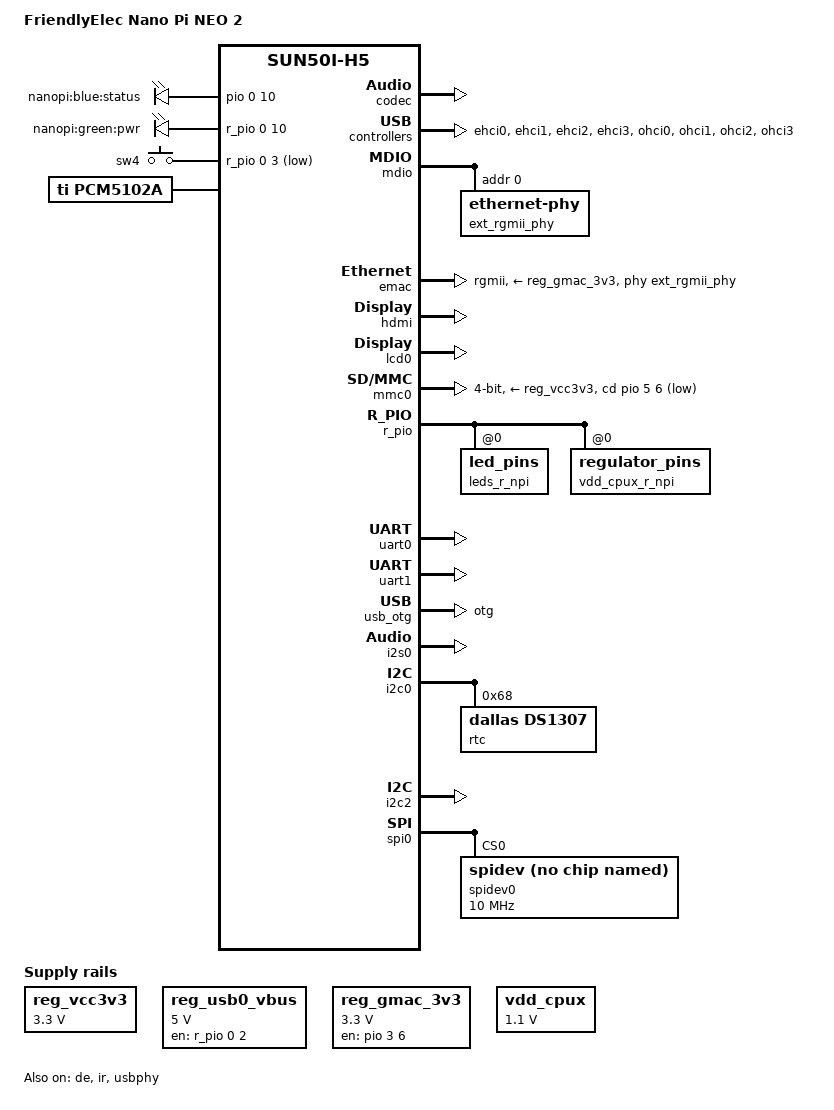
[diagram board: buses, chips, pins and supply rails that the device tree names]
/*
 * Copyright (C) 2016 ARM Ltd.
 *
 * This file is dual-licensed: you can use it either under the terms
 * of the GPL or the X11 license, at your option. Note that this dual
 * licensing only applies to this file, and not this project as a
 * whole.
 *
 *  a) This file is free software; you can redistribute it and/or
 *     modify it under the terms of the GNU General Public License as
 *     published by the Free Software Foundation; either version 2 of the
 *     License, or (at your option) any later version.
 *
 *     This file is distributed in the hope that it will be useful,
 *     but WITHOUT ANY WARRANTY; without even the implied warranty of
 *     MERCHANTABILITY or FITNESS FOR A PARTICULAR PURPOSE.  See the
 *     GNU General Public License for more details.
 *
 * Or, alternatively,
 *
 *  b) Permission is hereby granted, free of charge, to any person
 *     obtaining a copy of this software and associated documentation
 *     files (the "Software"), to deal in the Software without
 *     restriction, including without limitation the rights to use,
 *     copy, modify, merge, publish, distribute, sublicense, and/or
 *     sell copies of the Software, and to permit persons to whom the
 *     Software is furnished to do so, subject to the following
 *     conditions:
 *
 *     The above copyright notice and this permission notice shall be
 *     included in all copies or substantial portions of the Software.
 *
 *     THE SOFTWARE IS PROVIDED "AS IS", WITHOUT WARRANTY OF ANY KIND,
 *     EXPRESS OR IMPLIED, INCLUDING BUT NOT LIMITED TO THE WARRANTIES
 *     OF MERCHANTABILITY, FITNESS FOR A PARTICULAR PURPOSE AND
 *     NONINFRINGEMENT. IN NO EVENT SHALL THE AUTHORS OR COPYRIGHT
 *     HOLDERS BE LIABLE FOR ANY CLAIM, DAMAGES OR OTHER LIABILITY,
 *     WHETHER IN AN ACTION OF CONTRACT, TORT OR OTHERWISE, ARISING
 *     FROM, OUT OF OR IN CONNECTION WITH THE SOFTWARE OR THE USE OR
 *     OTHER DEALINGS IN THE SOFTWARE.
 */

/dts-v1/;
#include "sun50i-h5.dtsi"

#include <dt-bindings/gpio/gpio.h>
#include <dt-bindings/input/input.h>
#include <dt-bindings/pinctrl/sun4i-a10.h>
#include <dt-bindings/thermal/thermal.h>

/ {
	model = "FriendlyElec Nano Pi NEO 2";
	compatible = "friendlyelec,nanopi-neo2", "allwinner,sun50i-h5";

	reg_vcc3v3: vcc3v3 {
		compatible = "regulator-fixed";
		regulator-name = "vcc3v3";
		regulator-min-microvolt = <3300000>;
		regulator-max-microvolt = <3300000>;
	};

	aliases {
		serial0 = &uart0;
		serial1 = &uart1;
		serial2 = &uart2;
		serial3 = &uart3;
		i2c0 = &i2c0;
		i2c1 = &i2c1;
		i2c2 = &i2c2;
		spi0 = &spi0;
		spi1 = &spi1;
		pwm0 = &pwm;
		mmc0 = &mmc0;
		mmc2 = &mmc2;
		ethernet0 = &emac;
		lcd0 = &lcd0;
	};

	chosen {
		stdout-path = "serial0:115200n8";
	};

	leds {
		compatible = "gpio-leds";
		pinctrl-names = "default";
		pinctrl-0 = <&leds_npi>, <&leds_r_npi>;

		status {
			label = "nanopi:blue:status";
			gpios = <&pio 0 10 GPIO_ACTIVE_HIGH>;
			linux,default-trigger = "heartbeat";
		};

		pwr {
			label = "nanopi:green:pwr";
			gpios = <&r_pio 0 10 GPIO_ACTIVE_HIGH>;
			default-state = "on";
		};
	};

	r-gpio-keys {
		compatible = "gpio-keys";

		sw4 {
			label = "sw4";
			linux,code = <BTN_0>;
			gpios = <&r_pio 0 3 GPIO_ACTIVE_LOW>;
		};
	};

	pcm5102a: pcm5102a-codec {
		#sound-dai-cells = <0>;
		compatible = "ti,pcm5102a";
		status = "okay";
	};

	reg_usb0_vbus: usb0-vbus {
		compatible = "regulator-fixed";
		regulator-name = "usb0-vbus";
		regulator-min-microvolt = <5000000>;
		regulator-max-microvolt = <5000000>;
		enable-active-high;
		gpio = <&r_pio 0 2 GPIO_ACTIVE_HIGH>; /* PL2 */
		status = "okay";
	};

	reg_gmac_3v3: gmac-3v3 {
		compatible = "regulator-fixed";
		pinctrl-names = "default";
		pinctrl-0 = <&gmac_power_pin_nanopi>;
		regulator-name = "gmac-3v3";
		regulator-min-microvolt = <3300000>;
		regulator-max-microvolt = <3300000>;
		startup-delay-us = <100000>;
		enable-active-high;
		gpio = <&pio 3 6 GPIO_ACTIVE_HIGH>;
	};

	vdd_cpux: gpio-regulator {
		compatible = "regulator-gpio";

		pinctrl-names = "default";
		pinctrl-0 = <&vdd_cpux_r_npi>;

		regulator-name = "vdd-cpux";
		regulator-type = "voltage";
		regulator-boot-on;
		regulator-always-on;
		regulator-min-microvolt = <1100000>;
		regulator-max-microvolt = <1100000>;
		regulator-ramp-delay = <50>; /* 4ms */

		gpios = <&r_pio 0 6 GPIO_ACTIVE_HIGH>;
		gpios-states = <0x1>;
		states = <1100000 0x0
			  1100000 0x1>;
	};
};

&cpu0 {
	operating-points = <
		1008000	1100000
		816000	1100000
		624000	1100000
		480000	1100000
		312000	1100000
		240000	1100000
		120000	1100000
		>;
	#cooling-cells = <2>;
	cooling-min-level = <0>;
	cooling-max-level = <6>;
	cpu0-supply = <&vdd_cpux>;
};

&cpu_thermal {
	trips {
		cpu_warm: cpu_warm {
			temperature = <65000>;
			hysteresis = <2000>;
			type = "passive";
		};
		cpu_hot: cpu_hot {
			temperature = <75000>;
			hysteresis = <2000>;
			type = "passive";
		};
		cpu_very_hot: cpu_very_hot {
			temperature = <90000>;
			hysteresis = <2000>;
			type = "passive";
		};
		cpu_crit: cpu_crit {
			temperature = <105000>;
			hysteresis = <2000>;
			type = "critical";
		};
	};

	cooling-maps {
		cpu_warm_limit_cpu {
			trip = <&cpu_warm>;
			cooling-device = <&cpu0 THERMAL_NO_LIMIT 1>;
		};
		cpu_hot_limit_cpu {
			trip = <&cpu_hot>;
			cooling-device = <&cpu0 2 3>;
		};
		cpu_very_hot_limit_cpu {
			trip = <&cpu_very_hot>;
			cooling-device = <&cpu0 5 THERMAL_NO_LIMIT>;
		};
	};
};

&codec {
	allwinner,audio-routing =
		"Line Out", "LINEOUT",
		"MIC1", "Mic",
		"Mic",  "MBIAS";
	status = "okay";
};

&de {
	status = "okay";
};

&ehci0 {
	status = "okay";
};

&ehci1 {
	status = "okay";
};

&ehci2 {
	status = "okay";
};

&ehci3 {
	status = "okay";
};

&mdio {
	ext_rgmii_phy: ethernet-phy@1 {
		reg = <0>;
	};
};

&emac {
	pinctrl-names = "default";
	pinctrl-0 = <&emac_rgmii_pins>;
	phy-supply = <&reg_gmac_3v3>;
	phy-handle = <&ext_rgmii_phy>;
	phy-mode = "rgmii";
	local-mac-address = [ 00 00 00 00 00 00 ];

	allwinner,leds-active-low;
	status = "okay";
};

&hdmi {
	status = "okay";
};

&ir {
	pinctrl-names = "default";
	pinctrl-0 = <&ir_pins_a>;
	status = "okay";
};

&lcd0 {
	status = "okay";
};

&mmc0 {
	pinctrl-names = "default";
	pinctrl-0 = <&mmc0_pins_a>, <&mmc0_cd_pin>;
	vmmc-supply = <&reg_vcc3v3>;
	bus-width = <4>;
	cd-gpios = <&pio 5 6 GPIO_ACTIVE_LOW>; /* PF6 */
	boot_device = <1>;
	status = "okay";
};

&ohci0 {
	status = "okay";
};

&ohci1 {
	status = "okay";
};

&ohci2 {
	status = "okay";
};

&ohci3 {
	status = "okay";
};

&pio {
	leds_npi: led_pins@0 {
		pins = "PA10";
		function = "gpio_out";
	};

	gmac_power_pin_nanopi: gmac_power_pin@0 {
		pins = "PD6";
		function = "gpio_out";
	};
};

&r_pio {
	leds_r_npi: led_pins@0 {
		pins = "PL10";
		function = "gpio_out";
	};
	vdd_cpux_r_npi: regulator_pins@0 {
		allwinner,pins = "PL6";
		allwinner,function = "gpio_out";
		allwinner,drive = <SUN4I_PINCTRL_10_MA>;
		allwinner,pull = <SUN4I_PINCTRL_NO_PULL>;
	};
};

&uart0 {
	pinctrl-names = "default";
	pinctrl-0 = <&uart0_pins_a>;
	status = "okay";
};

&uart1 {
	pinctrl-names = "default";
	pinctrl-0 = <&uart1_pins>;
	status = "okay";
};

&uart2 {
	pinctrl-names = "default";
	pinctrl-0 = <&uart2_pins>;
	status = "disabled";
};

&usb_otg {
	dr_mode = "otg";
	status = "okay";
};

&usbphy {
	/* USB Type-A ports' VBUS is always on */
	usb0_id_det-gpios = <&pio 6 12 GPIO_ACTIVE_HIGH>; /* PG12 */
	usb0_vbus-supply = <&reg_usb0_vbus>;
	status = "okay";
};

&i2s0 {
	compatible = "allwinner,sun8i-h5-i2s";
	sound-dai = <&pcm5102a>;
	status = "okay";
};

&i2c0 {
    status = "okay";
    rtc@68 {
            compatible = "dallas,ds1307";
            reg = <0x68>;
    };
};

&i2c1 {
    /* no I2C1 for I2S0 */
    status = "disabled";
};

&i2c2 {
    status = "okay";
};

&spi0 {
    status = "okay";
    spidev0: spi@0 {
        compatible = "nanopi,spidev";
        reg = <0>;
        spi-max-frequency = <10000000>;
    };
};

&pwm {
	pinctrl-names = "default";
	pinctrl-0 = <&pwm0_pins>;
	status = "disabled";
};
